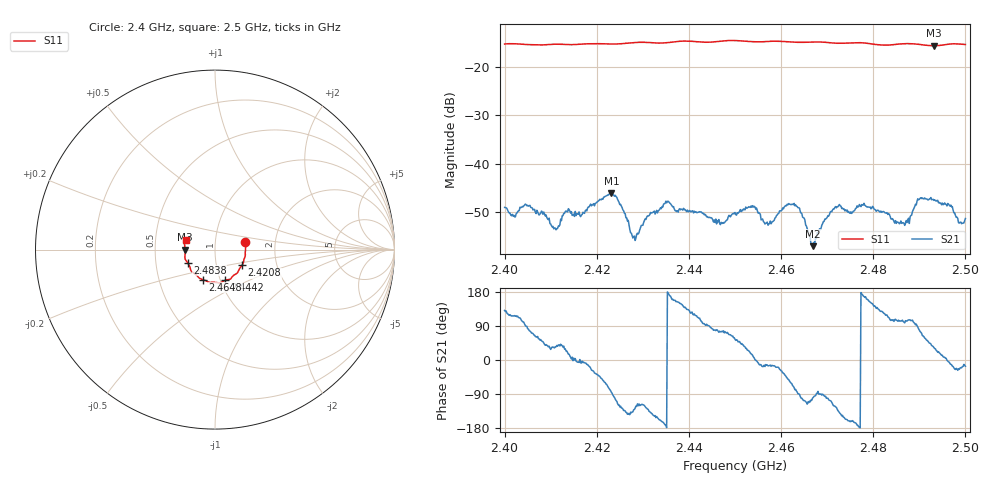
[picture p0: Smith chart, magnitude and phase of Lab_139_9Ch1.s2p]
# Hz S RI R 50
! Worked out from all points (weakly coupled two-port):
!   601 points, 2.4 GHz to 2.5 GHz, reference 50 ohm
!   highest |S21| = -46.01 dB at 2.4232 GHz (marker M1); lowest = -57.0 dB at 2.4668 GHz (marker M2)
!   lowest |S11| = -15.6 dB at 2.4932 GHz (marker M3), VSWR 1.40, Z = 35.8 - j0.0911 ohm
!   |S11| at or under -10 dB: start of sweep to end of sweep
!   S12 and S22 are empty: the file has one direction only
!   S11 on the Smith chart (normalised r, x): 2.4 GHz: 1.40, +0.12; 2.4208 GHz: 1.33, -0.24; 2.4442 GHz: 1.05, -0.37; 2.4648 GHz: 0.83, -0.29; 2.4838 GHz: 0.73, -0.11; 2.5 GHz: 0.72, +0.08
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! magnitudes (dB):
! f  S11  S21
! 2.4 GHz  -15.3  -49.0
! 2.405 GHz  -15.4  -48.6
! 2.411 GHz  -15.3  -53.3
! 2.4167 GHz  -15.2  -50.6
! 2.4208 GHz  -15.2  -47.4
! 2.4232 GHz  -15.2  -46.0
! 2.428 GHz  -15.0  -55.0
! 2.4333 GHz  -15.1  -49.7
! 2.4442 GHz  -14.9  -51.1
! 2.45 GHz  -14.5  -50.1
! 2.4538 GHz  -14.8  -48.6
! 2.4577 GHz  -14.7  -51.8
! 2.4623 GHz  -14.8  -48.3
! 2.4648 GHz  -14.9  -51.1
! 2.4667 GHz  -14.8  -56.7
! 2.4668 GHz  -14.8  -57.0
! 2.4722 GHz  -15.1  -48.9
! 2.4833 GHz  -15.5  -50.3
! 2.4838 GHz  -15.4  -51.4
! 2.4868 GHz  -15.2  -52.7
! 2.4932 GHz  -15.6  -47.6
! 2.5 GHz  -15.3  -51.3
